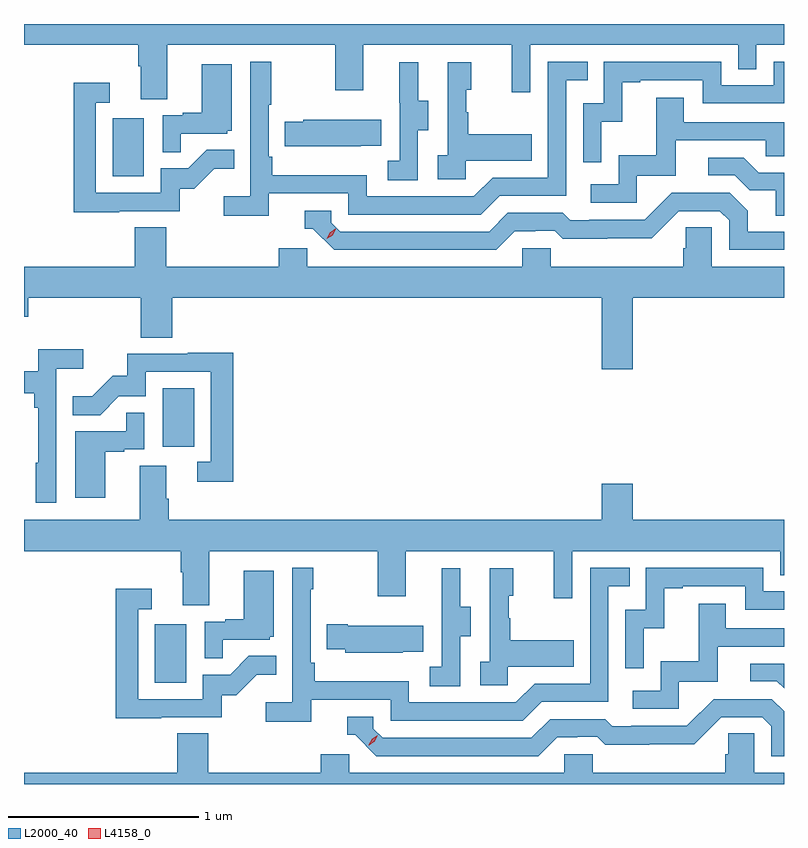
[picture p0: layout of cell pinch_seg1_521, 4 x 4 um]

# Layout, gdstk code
import gdstk
lib = gdstk.Library(unit=1e-6, precision=1e-09)
def R(c, l, rs):  # rectangles x0, y0, x1, y1
    for r in rs: c.add(gdstk.rectangle(r[:2], r[2:], *l))
def P(c, l, *ps):  # polygons
    for p in ps: c.add(gdstk.Polygon(p, *l))
L2000_40 = (2000, 40)
L4158_0 = (4158, 0)

pinch_seg1_521 = lib.new_cell('pinch_seg1_521')
R(pinch_seg1_521, L2000_40, [(1061.756,539.052,1061.92,539.359), (1061.798,540.294,1061.962,540.601), (1061.534,541.716,1061.698,542.023)])
P(pinch_seg1_521, L2000_40, [(1061.821,542.408),(1062.706,542.408),(1062.706,542.169),(1062.853,542.169),(1062.853,542.408),(1063.634,542.408),(1063.634,542.16),(1063.731,542.16),(1063.731,542.408),(1064.826,542.408),(1064.826,542.281),(1064.922,542.281),(1064.922,542.408),(1065.067,542.408),(1065.067,542.518),(1061.067,542.518),(1061.067,542.408),(1061.669,542.408),(1061.669,542.296),(1061.681,542.296),(1061.681,542.122),(1061.821,542.122)],
  [(1062.356,541.626),(1062.774,541.626),(1062.774,541.515),(1063.471,541.515),(1063.57,541.614),(1063.92,541.614),(1063.92,542.223),(1064.033,542.223),(1064.033,542.319),(1063.824,542.319),(1063.824,541.71),(1063.533,541.71),(1063.434,541.611),(1062.87,541.611),(1062.87,541.723),(1062.374,541.723),(1062.374,541.819),(1062.354,541.819),(1062.354,542.092),(1062.367,542.092),(1062.367,542.32),(1062.258,542.32),(1062.258,541.612),(1062.117,541.612),(1062.117,541.51),(1062.356,541.51)],
  [(1064.106,542.003),(1064.216,542.003),(1064.216,542.211),(1064.311,542.211),(1064.311,542.223),(1064.64,542.223),(1064.64,542.1),(1065.067,542.1),(1065.067,542.319),(1065.012,542.319),(1065.012,542.196),(1064.736,542.196),(1064.736,542.319),(1064.118,542.319),(1064.118,542.1),(1064.01,542.1),(1064.01,541.791),(1064.106,541.791)],
  [(1063.392,541.799),(1063.739,541.799),(1063.739,541.939),(1063.405,541.939),(1063.405,542.054),(1063.395,542.054),(1063.395,542.172),(1063.42,542.172),(1063.42,542.317),(1063.296,542.317),(1063.296,541.826),(1063.245,541.826),(1063.245,541.701),(1063.392,541.701)],
  [(1063.14,541.96),(1063.195,541.96),(1063.195,542.115),(1063.141,542.115),(1063.141,542.317),(1063.043,542.317),(1063.043,542.103),(1063.044,542.103),(1063.044,541.799),(1062.981,541.799),(1062.981,541.696),(1063.14,541.696)],
  [(1061.891,541.941),(1062.138,541.941),(1062.138,541.956),(1062.16,541.956),(1062.16,542.305),(1062.002,542.305),(1062.002,542.05),(1061.903,542.05),(1061.903,542.037),(1061.796,542.037),(1061.796,541.843),(1061.891,541.843)],
  [(1061.567,541.533),(1061.886,541.533),(1061.886,541.65),(1061.962,541.65),(1062.069,541.757),(1062.173,541.757),(1062.173,541.856),(1062.029,541.856),(1061.931,541.758),(1061.787,541.758),(1061.787,541.629),(1061.445,541.629),(1061.445,542.103),(1061.518,542.103),(1061.518,542.209),(1061.329,542.209),(1061.329,541.528),(1061.567,541.528)],
  [(1064.292,541.719),(1064.497,541.719),(1064.497,541.905),(1064.971,541.905),(1064.971,541.821),(1065.067,541.821),(1065.067,542.001),(1064.539,542.001),(1064.539,542.131),(1064.395,542.131),(1064.395,541.828),(1064.196,541.828),(1064.196,541.674),(1064.049,541.674),(1064.049,541.578),(1064.292,541.578)],
  [(1062.839,541.877),(1062.947,541.877),(1062.947,542.014),(1062.537,542.014),(1062.537,542.004),(1062.439,542.004),(1062.439,541.874),(1062.839,541.874)],
  [(1065.067,541.734),(1064.935,541.734),(1064.854,541.815),(1064.667,541.815),(1064.667,541.722),(1064.808,541.722),(1064.888,541.642),(1065.023,541.642),(1065.023,541.51),(1065.067,541.51)],
  [(1063.651,541.428),(1063.758,541.428),(1063.758,541.431),(1063.861,541.431),(1063.903,541.389),(1064.136,541.389),(1064.136,541.391),(1064.372,541.391),(1064.514,541.533),(1064.73,541.533),(1064.778,541.485),(1064.778,541.329),(1065.067,541.329),(1065.067,541.425),(1064.875,541.425),(1064.875,541.535),(1064.781,541.629),(1064.475,541.629),(1064.334,541.488),(1064.041,541.488),(1064.041,541.485),(1063.942,541.485),(1063.903,541.524),(1063.614,541.524),(1063.515,541.425),(1062.732,541.425),(1062.684,541.473),(1062.684,541.536),(1062.545,541.536),(1062.545,541.44),(1062.588,541.44),(1062.699,541.329),(1063.552,541.329)],
  [(1064.272,541.076),(1065.067,541.076),(1065.067,541.24),(1064.688,541.24),(1064.688,541.448),(1064.551,541.448),(1064.551,541.338),(1064.537,541.338),(1064.537,541.24),(1063.839,541.24),(1063.839,541.338),(1063.689,541.338),(1063.689,541.24),(1062.558,541.24),(1062.558,541.338),(1062.407,541.338),(1062.407,541.24),(1061.816,541.24),(1061.816,541.448),(1061.651,541.448),(1061.651,541.24),(1061.067,541.24),(1061.067,540.978),(1061.09,540.978),(1061.09,541.076),(1061.681,541.076),(1061.681,540.868),(1061.846,540.868),(1061.846,541.076),(1064.108,541.076),(1064.108,540.702),(1064.272,540.702)],
  [(1061.238,540.704),(1061.38,540.704),(1061.38,540.806),(1061.141,540.806),(1061.141,540.69),(1061.067,540.69),(1061.067,540.574),(1061.122,540.574),(1061.122,540.497),(1061.141,540.497),(1061.141,540.209),(1061.13,540.209),(1061.13,539.997),(1061.238,539.997)],
  [(1062.167,540.788),(1061.929,540.788),(1061.929,540.783),(1061.611,540.783),(1061.611,540.666),(1061.534,540.666),(1061.427,540.559),(1061.323,540.559),(1061.323,540.46),(1061.467,540.46),(1061.565,540.558),(1061.709,540.558),(1061.709,540.687),(1062.051,540.687),(1062.051,540.213),(1061.979,540.213),(1061.979,540.108),(1062.167,540.108)],
  [(1061.494,540.267),(1061.594,540.267),(1061.594,540.279),(1061.7,540.279),(1061.7,540.473),(1061.605,540.473),(1061.605,540.375),(1061.336,540.375),(1061.336,540.024),(1061.494,540.024)],
  [(1062.043,539.744),(1062.928,539.744),(1062.928,539.505),(1063.075,539.505),(1063.075,539.744),(1063.856,539.744),(1063.856,539.496),(1063.953,539.496),(1063.953,539.744),(1065.048,539.744),(1065.048,539.617),(1065.067,539.617),(1065.067,539.908),(1064.272,539.908),(1064.272,540.097),(1064.108,540.097),(1064.108,539.908),(1061.828,539.908),(1061.828,540.02),(1061.815,540.02),(1061.815,540.194),(1061.675,540.194),(1061.675,539.908),(1061.067,539.908),(1061.067,539.744),(1061.891,539.744),(1061.891,539.632),(1061.903,539.632),(1061.903,539.458),(1062.043,539.458)],
  [(1062.578,538.962),(1062.996,538.962),(1062.996,538.851),(1063.693,538.851),(1063.792,538.95),(1064.142,538.95),(1064.142,539.559),(1064.255,539.559),(1064.255,539.655),(1064.046,539.655),(1064.046,539.046),(1063.755,539.046),(1063.656,538.947),(1063.092,538.947),(1063.092,539.059),(1062.596,539.059),(1062.596,539.155),(1062.576,539.155),(1062.576,539.543),(1062.589,539.543),(1062.589,539.656),(1062.48,539.656),(1062.48,538.948),(1062.339,538.948),(1062.339,538.846),(1062.578,538.846)],
  [(1064.328,539.339),(1064.438,539.339),(1064.438,539.547),(1064.533,539.547),(1064.533,539.559),(1064.862,539.559),(1064.862,539.436),(1065.067,539.436),(1065.067,539.532),(1064.958,539.532),(1064.958,539.655),(1064.34,539.655),(1064.34,539.436),(1064.232,539.436),(1064.232,539.127),(1064.328,539.127)],
  [(1063.614,539.135),(1063.961,539.135),(1063.961,539.275),(1063.627,539.275),(1063.627,539.39),(1063.617,539.39),(1063.617,539.508),(1063.642,539.508),(1063.642,539.653),(1063.518,539.653),(1063.518,539.162),(1063.467,539.162),(1063.467,539.037),(1063.614,539.037)],
  [(1063.362,539.296),(1063.417,539.296),(1063.417,539.451),(1063.363,539.451),(1063.363,539.653),(1063.265,539.653),(1063.265,539.439),(1063.266,539.439),(1063.266,539.135),(1063.203,539.135),(1063.203,539.032),(1063.362,539.032)],
  [(1062.113,539.277),(1062.36,539.277),(1062.36,539.292),(1062.382,539.292),(1062.382,539.641),(1062.224,539.641),(1062.224,539.386),(1062.125,539.386),(1062.125,539.373),(1062.018,539.373),(1062.018,539.179),(1062.113,539.179)],
  [(1061.789,538.869),(1062.108,538.869),(1062.108,538.986),(1062.184,538.986),(1062.291,539.093),(1062.395,539.093),(1062.395,539.192),(1062.251,539.192),(1062.153,539.094),(1062.009,539.094),(1062.009,538.965),(1061.667,538.965),(1061.667,539.439),(1061.74,539.439),(1061.74,539.545),(1061.551,539.545),(1061.551,538.864),(1061.789,538.864)],
  [(1064.514,539.055),(1064.719,539.055),(1064.719,539.241),(1065.067,539.241),(1065.067,539.337),(1064.761,539.337),(1064.761,539.467),(1064.617,539.467),(1064.617,539.164),(1064.418,539.164),(1064.418,539.01),(1064.271,539.01),(1064.271,538.914),(1064.514,538.914)],
  [(1063.061,539.213),(1063.169,539.213),(1063.169,539.35),(1062.772,539.35),(1062.772,539.358),(1062.661,539.358),(1062.661,539.228),(1062.759,539.228),(1062.759,539.21),(1063.061,539.21)],
  [(1065.067,539.151),(1064.889,539.151),(1064.889,539.058),(1065.03,539.058),(1065.067,539.021)],
  [(1063.873,538.764),(1063.98,538.764),(1063.98,538.767),(1064.083,538.767),(1064.125,538.725),(1064.358,538.725),(1064.358,538.727),(1064.594,538.727),(1064.736,538.869),(1064.952,538.869),(1065,538.821),(1065,538.665),(1065.067,538.665),(1065.067,538.901),(1065.003,538.965),(1064.697,538.965),(1064.556,538.824),(1064.263,538.824),(1064.263,538.821),(1064.164,538.821),(1064.125,538.86),(1063.836,538.86),(1063.737,538.761),(1062.954,538.761),(1062.906,538.809),(1062.906,538.872),(1062.767,538.872),(1062.767,538.776),(1062.81,538.776),(1062.921,538.665),(1063.774,538.665)],
  [(1065.067,538.576),(1064.91,538.576),(1064.91,538.784),(1064.773,538.784),(1064.773,538.674),(1064.759,538.674),(1064.759,538.576),(1064.061,538.576),(1064.061,538.674),(1063.911,538.674),(1063.911,538.576),(1062.78,538.576),(1062.78,538.674),(1062.629,538.674),(1062.629,538.576),(1062.038,538.576),(1062.038,538.784),(1061.873,538.784),(1061.873,538.576),(1061.067,538.576),(1061.067,538.518),(1065.067,538.518)])
P(pinch_seg1_521, L4158_0, [(1062.882,538.723),(1062.882,538.724),(1062.899,538.756),(1062.93,538.775),(1062.93,538.775),(1062.93,538.774),(1062.914,538.742),(1062.883,538.723)],
  [(1062.661,541.387),(1062.661,541.388),(1062.676,541.42),(1062.706,541.44),(1062.707,541.44),(1062.707,541.44),(1062.691,541.407),(1062.661,541.387)])

lib.write_gds('pinch_seg1_521.gds')
